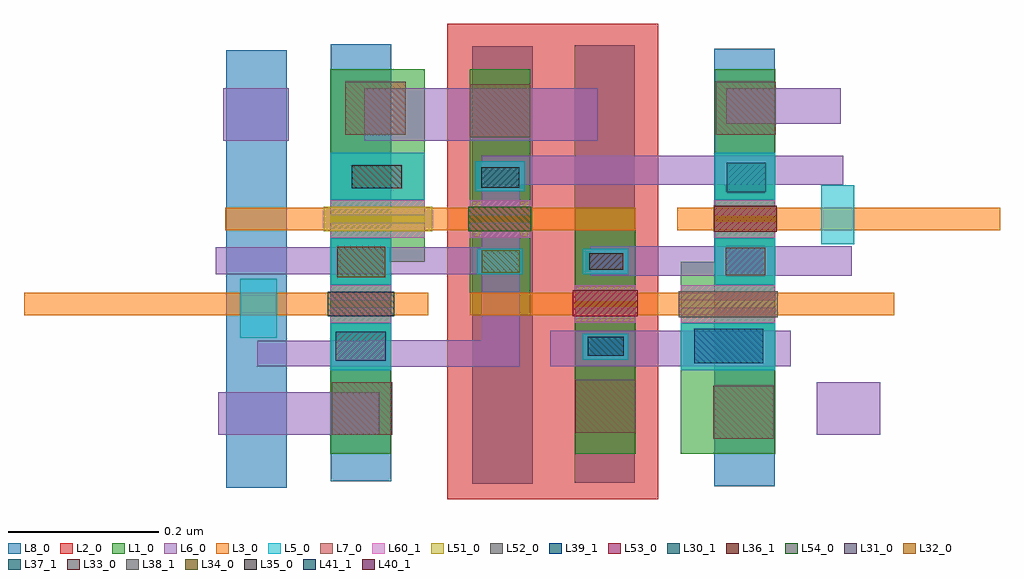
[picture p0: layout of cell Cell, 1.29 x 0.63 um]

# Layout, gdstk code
import gdstk
lib = gdstk.Library(unit=1e-6, precision=1e-11)
def R(c, l, rs):  # rectangles x0, y0, x1, y1
    for r in rs: c.add(gdstk.rectangle(r[:2], r[2:], *l))
def P(c, l, *ps):  # polygons
    for p in ps: c.add(gdstk.Polygon(p, *l))
L1_0 = (1, 0)
L2_0 = (2, 0)
L3_0 = (3, 0)
L5_0 = (5, 0)
L6_0 = (6, 0)
L7_0 = (7, 0)
L8_0 = (8, 0)
L30_1 = (30, 1)
L31_0 = (31, 0)
L32_0 = (32, 0)
L33_0 = (33, 0)
L34_0 = (34, 0)
L35_0 = (35, 0)
L36_1 = (36, 1)
L37_1 = (37, 1)
L38_1 = (38, 1)
L39_1 = (39, 1)
L40_1 = (40, 1)
L41_1 = (41, 1)
L51_0 = (51, 0)
L52_0 = (52, 0)
L53_0 = (53, 0)
L54_0 = (54, 0)
L60_1 = (60, 1)

cell = lib.new_cell('Cell')
R(cell, L1_0, [(0.03,-0.255,0.11,0.0712), (-0.11,-0.0712,-0.03,0.255)])
P(cell, L1_0, [(0.215,0),(0.17,0),(0.17,-0.255),(0.295,-0.255),(0.295,0.255),(0.215,0.255)],
  [(-0.17,0),(-0.215,0),(-0.215,-0.255),(-0.295,-0.255),(-0.295,0.255),(-0.17,0.255)])
R(cell, L2_0, [(-0.14,-0.315,0.14,0.315)])
R(cell, L3_0, [(-0.701,-0.0712,-0.165,-0.0412), (-0.11,-0.0712,0.453,-0.0412), (-0.434,0.0412,0.11,0.0712), (0.165,0.0412,0.593,0.0712)])
R(cell, L5_0, [(-0.295,-0.144,-0.215,-0.082), (0.17,-0.144,0.295,-0.082), (0.04,-0.1305,0.1,-0.0955), (-0.4143,-0.101,-0.3656,-0.023), (-0.295,-0.0305,-0.215,0.0305), (0.215,-0.0305,0.295,0.0305), (-0.1,-0.017,-0.04,0.017), (0.04,-0.017,0.1,0.017), (0.3561,0.023,0.4,0.101), (-0.295,0.082,-0.17,0.144), (0.215,0.082,0.295,0.144), (-0.103,0.093,-0.037,0.133)])
R(cell, L6_0, [(-0.4436,-0.23,-0.23,-0.1731), (0.35,-0.23,0.4341,-0.16), (-0.0031,-0.1389,0.3154,-0.0918), (0.05,-0.0187,0.3967,0.0203), (-0.4468,-0.017,-0.05,0.0187), (-0.4371,0.16,-0.35,0.23), (-0.25,0.16,0.06,0.23), (0.23,0.1828,0.3821,0.23)])
P(cell, L6_0, [(-0.3916,-0.14),(-0.3932,-0.1389),(-0.0437,-0.14),(-0.0437,0.1016),(0.3853,0.1016),(0.3853,0.14),(-0.0941,0.14),(-0.0941,-0.07),(-0.0941,-0.07),(-0.0941,-0.104),(-0.3916,-0.1048)])
R(cell, L7_0, [(0.2128,-0.2348,0.2928,-0.1648), (-0.2926,-0.23,-0.2126,-0.1601), (0.0298,-0.2267,0.1098,-0.1567), (-0.1099,0.1649,-0.0299,0.2349), (-0.2748,0.1681,-0.1948,0.2381), (0.2159,0.1681,0.2959,0.2381)])
R(cell, L8_0, [(-0.4325,-0.2997,-0.3525,0.2802), (0.2144,-0.2981,0.2944,0.2818), (-0.1066,-0.2949,-0.0266,0.2851), (0.0289,-0.2932,0.1089,0.2867), (-0.2942,-0.2916,-0.2142,0.2883)])
R(cell, L30_1, [(-0.2982,-0.0724,-0.21,-0.0398)])
R(cell, L31_0, [(-0.2879,-0.1318,-0.2216,-0.0931)])
R(cell, L32_0, [(-0.2855,-0.0208,-0.2218,0.0193)])
R(cell, L33_0, [(-0.2667,0.0971,-0.2,0.1273)])
R(cell, L34_0, [(-0.094,-0.015,-0.0435,0.015)])
R(cell, L35_0, [(-0.0947,0.0975,-0.0441,0.1251)])
R(cell, L36_1, [(0.2132,0.0397,0.297,0.0738)])
R(cell, L37_1, [(0.2304,0.0916,0.2826,0.1308)])
R(cell, L38_1, [(0.2294,-0.0181,0.2814,0.0183)])
R(cell, L39_1, [(0.1873,-0.1349,0.2793,-0.0892)])
R(cell, L40_1, [(0.0482,-0.0111,0.0932,0.0108)])
R(cell, L41_1, [(0.0464,-0.1249,0.0941,-0.0997)])
R(cell, L51_0, [(-0.3037,0.0402,-0.1597,0.0726)])
R(cell, L52_0, [(0.1673,-0.0738,0.2981,-0.0394)])
R(cell, L53_0, [(0.0268,-0.0728,0.1125,-0.0383)])
R(cell, L54_0, [(-0.1118,0.0401,-0.0283,0.0727)])
R(cell, L60_1, [(-0.295,-0.0812,-0.215,-0.0612), (0.03,-0.0812,0.11,-0.0612), (0.17,-0.0812,0.295,-0.0612), (-0.295,-0.0512,-0.215,-0.0312), (0.03,-0.0512,0.11,-0.0312), (0.17,-0.0512,0.295,-0.0312), (-0.295,0.0312,-0.17,0.0512), (-0.11,0.0312,-0.03,0.0512), (0.215,0.0312,0.295,0.0512), (-0.295,0.0612,-0.17,0.0812), (-0.11,0.0612,-0.03,0.0812), (0.215,0.0612,0.295,0.0812)])

lib.write_gds('Cell.gds')
